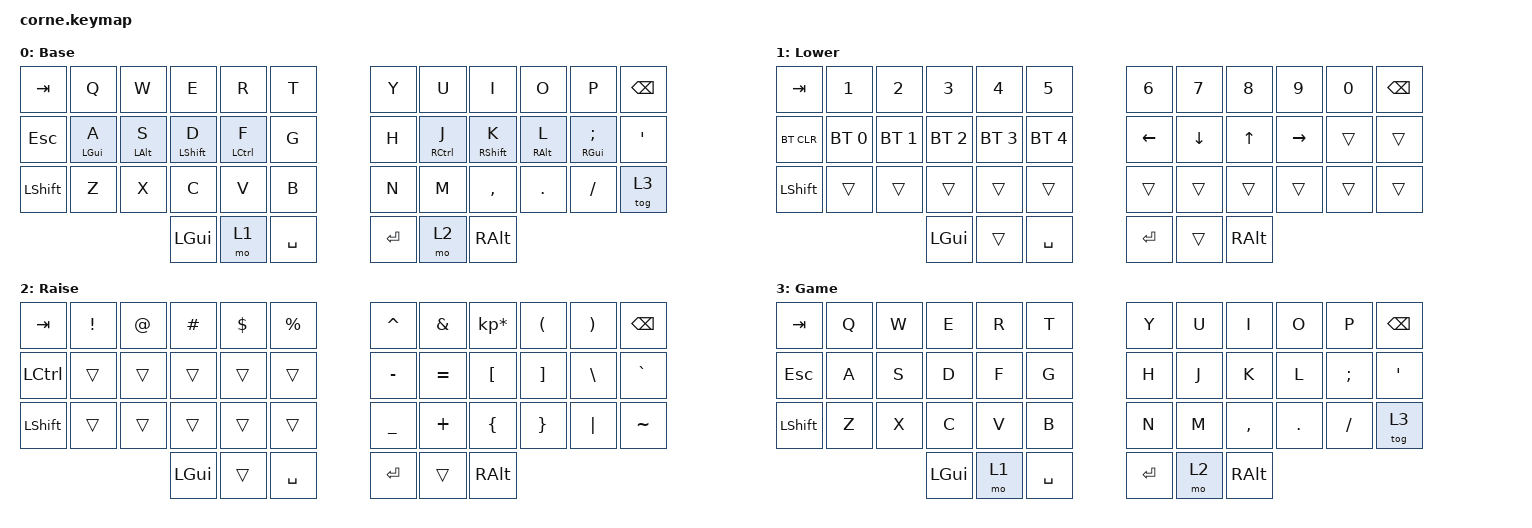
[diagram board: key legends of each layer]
/*
 * Copyright (c) 2020 The ZMK Contributors
 *
 * SPDX-License-Identifier: MIT
 */

#include <behaviors.dtsi>
#include <dt-bindings/zmk/keys.h>
#include <dt-bindings/zmk/bt.h>
#include "zmk-helpers/helper.h"

// Source desired key-position labels
#include "zmk-helpers/key-labels/42.h"
#define KEYS_L LT0 LT1 LT2 LT3 LT4 LT5 LM0 LM1 LM2 LM3 LM4 LM5 LB0 LB1 LB2 LB3 LB4 LB5  // Left-hand keys.
#define KEYS_R RT0 RT1 RT2 RT3 RT4 RT5 RM0 RM1 RM2 RM3 RM4 RT5 RB0 RB1 RB2 RB3 RB4 RB5  // Right-hand keys.
#define THUMBS LH2 LH1 LH0 RH0 RH1 RH2                                                  // Thumb keys.

/* Left-hand HRMs. */
ZMK_HOLD_TAP(hml,
    flavor = "balanced";
    tapping-term-ms = <280>;
    quick-tap-ms = <175>;
    require-prior-idle-ms = <150>;
    bindings = <&kp>, <&kp>;
    hold-trigger-key-positions = <KEYS_R THUMBS>;
    hold-trigger-on-release;
)

/* Right-hand HRMs. */
ZMK_HOLD_TAP(hmr,
    flavor = "balanced";
    tapping-term-ms = <280>;
    quick-tap-ms = <175>;
    require-prior-idle-ms = <150>;
    bindings = <&kp>, <&kp>;
    hold-trigger-key-positions = <KEYS_L THUMBS>;
    hold-trigger-on-release;
)


/ {
        keymap {
                compatible = "zmk,keymap";

                default_layer {
// -----------------------------------------------------------------------------------------
// |  TAB |  Q  |  W  |  E  |  R  |  T  |   |  Y  |  U   |  I  |  O  |  P  | BKSP |
// | ESC  |  A  |  S  |  D  |  F  |  G  |   |  H  |  J   |  K  |  L  |  ;  |  '   |
// | SHFT |  Z  |  X  |  C  |  V  |  B  |   |  N  |  M   |  ,  |  .  |  /  | ESC  |
//                    | GUI | LWR | SPC |   | ENT | RSE  | ALT |
                        display-name = "Base";
                        bindings = <
   &kp TAB   &kp Q 		&kp W	   &kp E 	   &kp R	  &kp T   &kp Y &kp U		&kp I		 &kp O		&kp P		  &kp BSPC
   &kp ESC	 &hml LGUI A &hml LALT S &hml LSHFT D &hml LCTL F &kp G   &kp H &hmr RCTL J  &hmr RSHFT K  &hmr RALT L &hmr RGUI SEMI &kp SQT
   &kp LSHFT &kp Z 		&kp X	   &kp C	   &kp V	  &kp B   &kp N &kp M		&kp COMMA 	 &kp DOT	&kp FSLH	  &tog 3
                  &kp LGUI &mo 1 &kp SPACE   &kp RET &mo 2 &kp RALT
                        >;
                };
                lower_layer {
// -----------------------------------------------------------------------------------------
// |  TAB |  1  |  2  |  3  |  4  |  5  |   |  6  |  7  |  8  |  9  |  0  | BKSP |
// | BTCLR| BT1 | BT2 | BT3 | BT4 | BT5 |   | LFT | DWN |  UP | RGT |     |      |
// | SHFT |     |     |     |     |     |   |     |     |     |     |     |      |
//                    | GUI |     | SPC |   | ENT |     | ALT |
                        display-name = "Lower";
                        bindings = <
   &kp TAB    &kp N1       &kp N2       &kp N3       &kp N4       &kp N5         &kp N6   &kp N7   &kp N8 &kp N9    &kp N0 &kp BSPC
   &bt BT_CLR &bt BT_SEL 0 &bt BT_SEL 1 &bt BT_SEL 2 &bt BT_SEL 3 &bt BT_SEL 4   &kp LEFT &kp DOWN &kp UP &kp RIGHT &trans &trans
   &kp LSHFT  &trans       &trans       &trans       &trans       &trans         &trans   &trans   &trans &trans    &trans &trans
                          	        &kp LGUI     &trans       &kp SPACE      &kp RET  &trans   &kp RALT
                        >;
                };

                raise_layer {
// -----------------------------------------------------------------------------------------
// |  TAB |  !  |  @  |  #  |  $  |  %  |   |  ^  |  &  |  *  |  (  |  )  | BKSP |
// | CTRL |     |     |     |     |     |   |  -  |  =  |  [  |  ]  |  \  |  `   |
// | SHFT |     |     |     |     |     |   |  _  |  +  |  {  |  }  | "|" |  ~   |
//                    | GUI |     | SPC |   | ENT |     | ALT |
                        display-name = "Raise";
                        bindings = <
   &kp  TAB  &kp EXCL &kp AT &kp HASH &kp DLLR &kp PRCNT   &kp CARET &kp AMPS  &kp KP_MULTIPLY &kp LPAR &kp RPAR &kp BSPC
   &kp LCTRL &trans   &trans &trans   &trans   &trans      &kp MINUS &kp EQUAL &kp LBKT        &kp RBKT &kp BSLH &kp GRAVE
   &kp LSHFT &trans   &trans &trans   &trans   &trans      &kp UNDER &kp PLUS  &kp LBRC        &kp RBRC &kp PIPE &kp TILDE
                    	     &kp LGUI &trans   &kp SPACE   &kp RET   &trans    &kp RALT
                        >;
                };

            // Copy of base layer with hrm disabled for gaming.
                extra_1 {
                        display-name = "Game";
                        bindings = <
   &kp TAB   &kp Q 		&kp W	   &kp E 	   &kp R	  &kp T   &kp Y &kp U		&kp I		 &kp O		&kp P		  &kp BSPC
   &kp ESC	 &kp A      &kp S      &kp D       &kp F      &kp G   &kp H &kp J       &kp K        &kp L      &kp SEMI      &kp SQT
   &kp LSHFT &kp Z 		&kp X	   &kp C	   &kp V	  &kp B   &kp N &kp M		&kp COMMA 	 &kp DOT	&kp FSLH	  &tog 3
                  &kp LGUI &mo 1 &kp SPACE   &kp RET &mo 2 &kp RALT
                        >;
                };

                extra_2 {
                        status = "reserved";
                };

                extra_3 {
                        status = "reserved";
                };
        };
};
